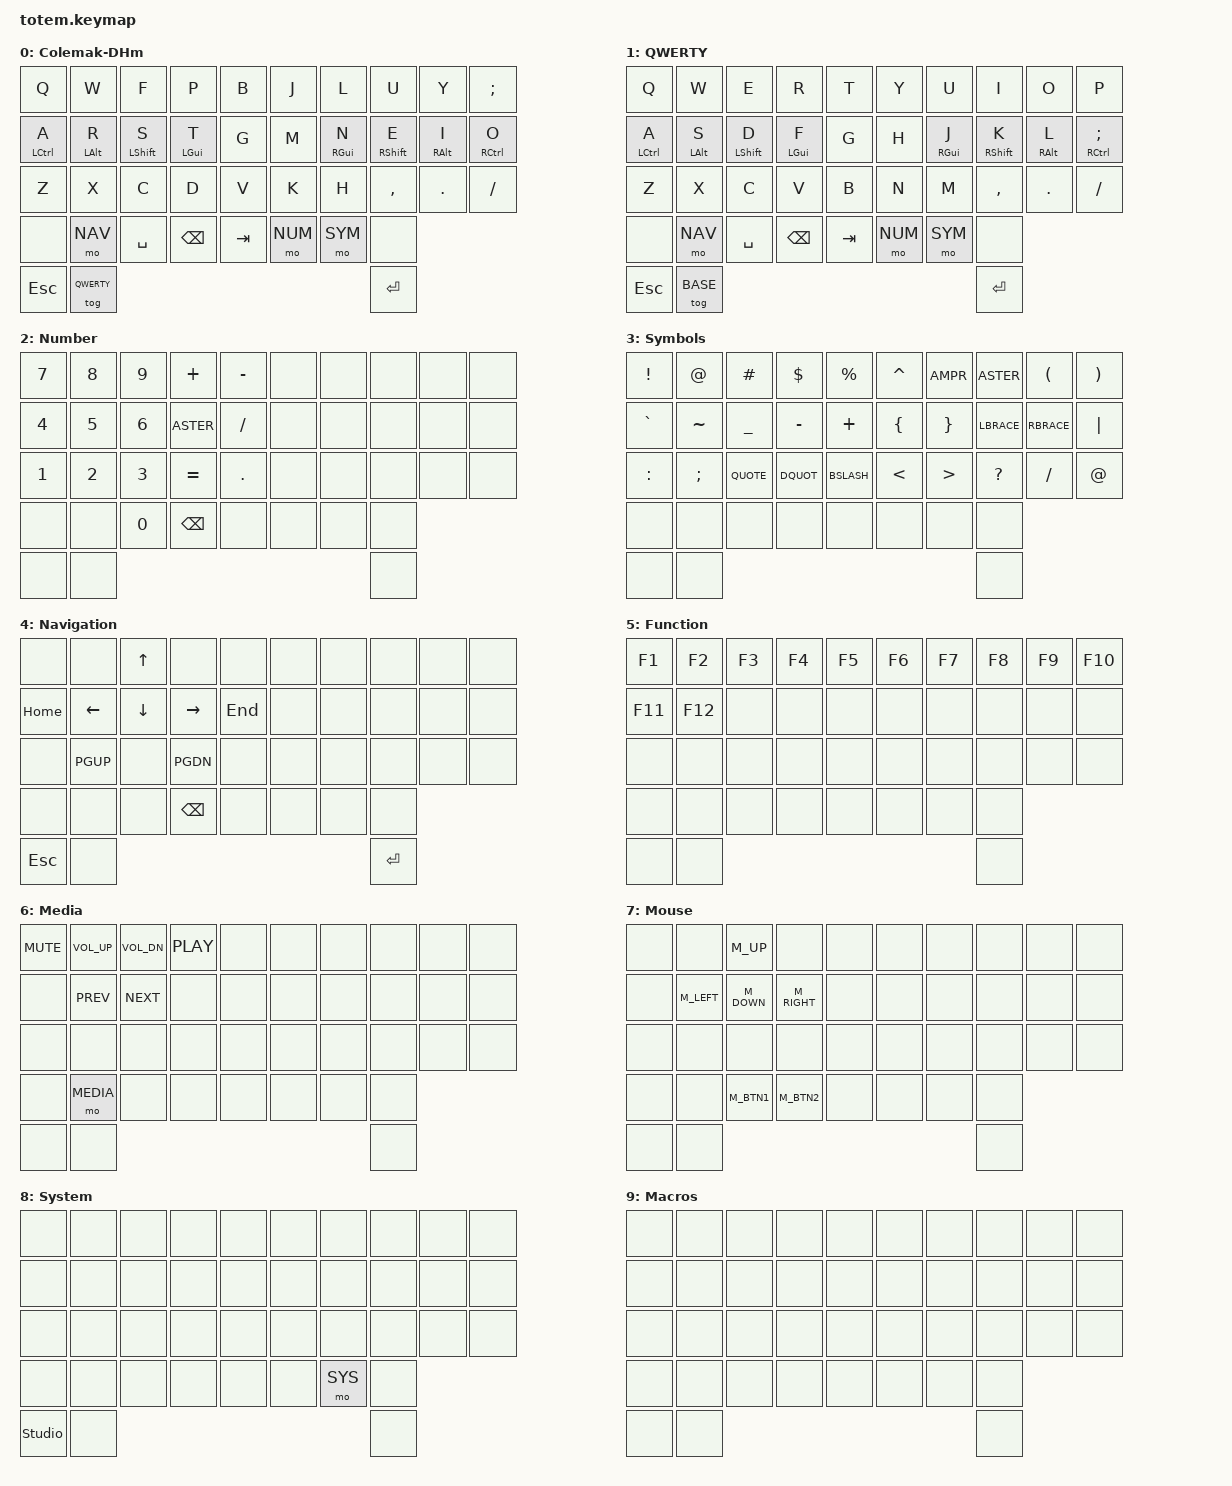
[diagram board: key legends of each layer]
// totem.keymap
// ZMK keymap for TOTEM 38-key split keyboard with 15 layers, compatible with ZMK Studio

// Define layer indices for readability
#define BASE 0      // Colemak-DHm
#define QWERTY 1    // QWERTY toggle
#define NUM 2       // Number pad
#define SYM 3       // Symbols
#define NAV 4       // Navigation
#define FN 5        // Function keys
#define MEDIA 6     // Media controls
#define MOUSE 7     // Mouse emulation
#define SYS 8       // System controls
#define MACRO 9     // Macros
#define LAYER10 10  // Reserved for ZMK Studio
#define LAYER11 11  // Reserved for ZMK Studio
#define LAYER12 12  // Reserved for ZMK Studio
#define LAYER13 13  // Reserved for ZMK Studio
#define LAYER14 14  // Reserved for ZMK Studio

// Include standard ZMK behaviors and keycodes
#include <behaviors.dtsi>
#include <dt-bindings/zmk/keys.h>

// Home-row mods configuration (timeless mods inspired by urob)
#define HRM_TAP_TERM 200
#define HRM_HOLD_TRIGGER_KEY_POSITIONS

/dts-v1/;

/ {
    keymap {
        compatible = "zmk,keymap";

        // Layer 0: Colemak-DHm (Base)
        base {
            display-name = "Colemak-DHm";
            bindings = <
                &kp Q     &kp W     &kp F     &kp P     &kp B     &kp J     &kp L     &kp U     &kp Y     &kp SEMI  // Left: qwfpg, Right: jluy;
                &mt LCTRL A &mt LALT R &mt LSHFT S &mt LGUI T &kp G     &kp M     &mt RGUI N &mt RSHFT E &mt RALT I &mt RCTRL O // Home row mods
                &kp Z     &kp X     &kp C     &kp D     &kp V     &kp K     &kp H     &kp COMMA &kp DOT   &kp SLASH // zxcvb k h,./
                &none     &mo NAV   &kp SPACE &kp BKSP  &kp TAB   &mo NUM   &mo SYM   &none                     // Thumb keys
                &kp ESC   &tog QWERTY                                                     &kp ENTER // Pinky keys
            >;
        };

        // Layer 1: QWERTY (Toggle for compatibility)
        qwerty {
            display-name = "QWERTY";
            bindings = <
                &kp Q     &kp W     &kp E     &kp R     &kp T     &kp Y     &kp U     &kp I     &kp O     &kp P
                &mt LCTRL A &mt LALT S &mt LSHFT D &mt LGUI F &kp G     &kp H     &mt RGUI J &mt RSHFT K &mt RALT L &mt RCTRL SEMI
                &kp Z     &kp X     &kp C     &kp V     &kp B     &kp N     &kp M     &kp COMMA &kp DOT   &kp SLASH
                &none     &mo NAV   &kp SPACE &kp BKSP  &kp TAB   &mo NUM   &mo SYM   &none
                &kp ESC   &tog BASE                                                       &kp ENTER
            >;
        };

        // Layer 2: Number Pad
        num {
            display-name = "Number";
            bindings = <
                &kp N7    &kp N8    &kp N9    &kp PLUS  &kp MINUS &none     &none     &none     &none     &none
                &kp N4    &kp N5    &kp N6    &kp ASTER &kp SLASH &none     &none     &none     &none     &none
                &kp N1    &kp N2    &kp N3    &kp EQUAL &kp DOT   &none     &none     &none     &none     &none
                &none     &none     &kp N0    &kp BKSP  &none     &none     &none     &none
                &none     &none                                                           &none
            >;
        };

        // Layer 3: Symbols
        sym {
            display-name = "Symbols";
            bindings = <
                &kp EXCL  &kp AT    &kp HASH  &kp DOLLAR &kp PERCENT &kp CARET &kp AMPR  &kp ASTER &kp LPAR  &kp RPAR
                &kp GRAVE &kp TILDE &kp UNDER &kp MINUS &kp PLUS   &kp LBRC  &kp RBRC  &kp LBRACE &kp RBRACE &kp PIPE
                &kp COLON &kp SEMI  &kp QUOTE &kp DQUOT &kp BSLASH &kp LT    &kp GT    &kp QMARK &kp SLASH &kp AT
                &none     &none     &none     &none     &none     &none     &none     &none
                &none     &none                                                           &none
            >;
        };

        // Layer 4: Navigation
        nav {
            display-name = "Navigation";
            bindings = <
                &none     &none     &kp UP    &none     &none     &none     &none     &none     &none     &none
                &kp HOME  &kp LEFT  &kp DOWN  &kp RIGHT &kp END   &none     &none     &none     &none     &none
                &none     &kp PGUP  &none     &kp PGDN  &none     &none     &none     &none     &none     &none
                &none     &none     &none     &kp BKSP  &none     &none     &none     &none
                &kp ESC   &none                                                           &kp ENTER
            >;
        };

        // Layer 5: Function Keys
        fn {
            display-name = "Function";
            bindings = <
                &kp F1    &kp F2    &kp F3    &kp F4    &kp F5    &kp F6    &kp F7    &kp F8    &kp F9    &kp F10
                &kp F11   &kp F12   &none     &none     &none     &none     &none     &none     &none     &none
                &none     &none     &none     &none     &none     &none     &none     &none     &none     &none
                &none     &none     &none     &none     &none     &none     &none     &none
                &none     &none                                                           &none
            >;
        };

        // Layer 6: Media Controls
        media {
            display-name = "Media";
            bindings = <
                &kp C_MUTE &kp C_VOL_UP &kp C_VOL_DN &kp C_PLAY &none     &none     &none     &none     &none     &none
                &none     &kp C_PREV &kp C_NEXT &none     &none     &none     &none     &none     &none     &none
                &none     &none     &none     &none     &none     &none     &none     &none     &none     &none
                &none     &mo MEDIA  &none     &none     &none     &none     &none     &none
                &none     &none                                                           &none
            >;
        };

        // Layer 7: Mouse Emulation
        mouse {
            display-name = "Mouse";
            bindings = <
                &none     &none     &kp M_UP  &none     &none     &none     &none     &none     &none     &none
                &none     &kp M_LEFT &kp M_DOWN &kp M_RIGHT &none   &none     &none     &none     &none     &none
                &none     &none     &none     &none     &none     &none     &none     &none     &none     &none
                &none     &none     &kp M_BTN1 &kp M_BTN2 &none   &none     &none     &none
                &none     &none                                                           &none
            >;
        };

        // Layer 8: System Controls
        sys {
            display-name = "System";
            bindings = <
                &none     &none     &none     &none     &none     &none     &none     &none     &none     &none
                &none     &none     &none     &none     &none     &none     &none     &none     &none     &none
                &none     &none     &none     &none     &none     &none     &none     &none     &none     &none
                &none     &none     &none     &none     &none     &none     &mo SYS   &none
                &studio_unlock &none                                                  &none
            >;
        };

        // Layer 9: Macros
        macro {
            display-name = "Macros";
            bindings = <
                &none     &none     &none     &none     &none     &none     &none     &none     &none     &none
                &none     &none     &none     &none     &none     &none     &none     &none     &none     &none
                &none     &none     &none     &none     &none     &none     &none     &none     &none     &none
                &none     &none     &none     &none     &none     &none     &none     &none
                &none     &none                                                           &none
            >;
        };

        // Layers 10-14: Reserved for ZMK Studio
        layer10 {
            display-name = "Layer 10";
            status = "reserved";
            bindings = <
                &none &none &none &none &none &none &none &none &none &none
                &none &none &none &none &none &none &none &none &none &none
                &none &none &none &none &none &none &none &none &none &none
                &none &none &none &none &none &none &none &none
                &none &none &none
            >;
        };

        layer11 {
            display-name = "Layer 11";
            status = "reserved";
            bindings = <
                &none &none &none &none &none &none &none &none &none &none
                &none &none &none &none &none &none &none &none &none &none
                &none &none &none &none &none &none &none &none &none &none
                &none &none &none &none &none &none &none &none
                &none &none &none
            >;
        };

        layer12 {
            display-name = "Layer 12";
            status = "reserved";
            bindings = <
                &none &none &none &none &none &none &none &none &none &none
                &none &none &none &none &none &none &none &none &none &none
                &none &none &none &none &none &none &none &none &none &none
                &none &none &none &none &none &none &none &none
                &none &none &none
            >;
        };

        layer13 {
            display-name = "Layer 13";
            status = "reserved";
            bindings = <
                &none &none &none &none &none &none &none &none &none &none
                &none &none &none &none &none &none &none &none &none &none
                &none &none &none &none &none &none &none &none &none &none
                &none &none &none &none &none &none &none &none
                &none &none &none
            >;
        };

        layer14 {
            display-name = "Layer 14";
            status = "reserved";
            bindings = <
                &none &none &none &none &none &none &none &none &none &none
                &none &none &none &none &none &none &none &none &none &none
                &none &none &none &none &none &none &none &none &none &none
                &none &none &none &none &none &none &none &none
                &none &none &none
            >;
        };
    };

    // Combos for common symbols (inspired by urob's config)
    combos {
        compatible = "zmk,combos";
        combo_semicolon {
            timeout-ms = <50>;
            key-positions = <17 18>;
            bindings = <&kp SEMI>;
            layers = <BASE QWERTY>;
        };
        combo_colon {
            timeout-ms = <50>;
            key-positions = <17 19>;
            bindings = <&kp COLON>;
            layers = <BASE QWERTY>;
        };
        combo_paren_left {
            timeout-ms = <50>;
            key-positions = <8 9>;
            bindings = <&kp LPAR>;
            layers = <BASE QWERTY>;
        };
        combo_paren_right {
            timeout-ms = <50>;
            key-positions = <28 29>;
            bindings = <&kp RPAR>;
            layers = <BASE QWERTY>;
        };
    };
};
